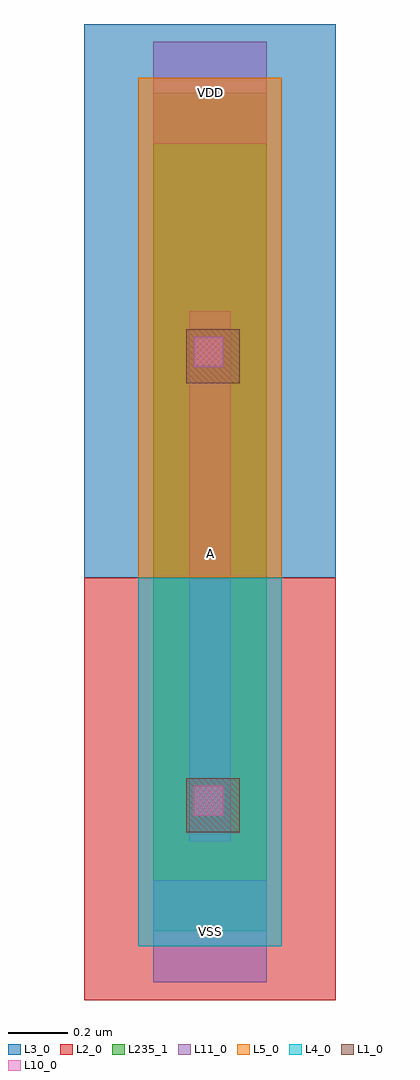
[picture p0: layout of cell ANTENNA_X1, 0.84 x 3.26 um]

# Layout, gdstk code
import gdstk
lib = gdstk.Library(unit=1e-6, precision=1e-09)
def R(c, l, rs):  # rectangles x0, y0, x1, y1
    for r in rs: c.add(gdstk.rectangle(r[:2], r[2:], *l))
L1_0 = (1, 0)
L2_0 = (2, 0)
L3_0 = (3, 0)
L4_0 = (4, 0)
L5_0 = (5, 0)
L10_0 = (10, 0)
L11_0 = (11, 0)
L235_1 = (235, 1)

antenna_x1 = lib.new_cell('ANTENNA_X1')
R(antenna_x1, L1_0, [(0.11,0.33,0.29,0.51), (0.11,1.83,0.29,2.01)])
R(antenna_x1, L2_0, [(-0.23,-0.23,0.61,1.18)])
R(antenna_x1, L3_0, [(-0.23,1.18,0.61,3.03)])
R(antenna_x1, L4_0, [(-0.05,-0.05,0.43,1.18)])
R(antenna_x1, L5_0, [(-0.05,1.18,0.43,2.85)])
R(antenna_x1, L10_0, [(0.135,0.385,0.235,0.485), (0.135,1.885,0.235,1.985)])
R(antenna_x1, L11_0, [(0,-0.17,0.38,0.17), (0,-0.17,0.38,0.17), (0.12,0.3,0.26,2.07), (0.12,0.3,0.26,2.07), (0,2.63,0.38,2.97), (0,2.63,0.38,2.97)])
R(antenna_x1, L235_1, [(0,0,0.38,2.8)])
antenna_x1.add(gdstk.Label('VSS', (0.19,0), layer=11, texttype=0))
antenna_x1.add(gdstk.Label('VDD', (0.19,2.8), layer=11, texttype=0))
antenna_x1.add(gdstk.Label('A', (0.19,1.26), layer=11, texttype=0))

lib.write_gds('ANTENNA_X1.gds')
